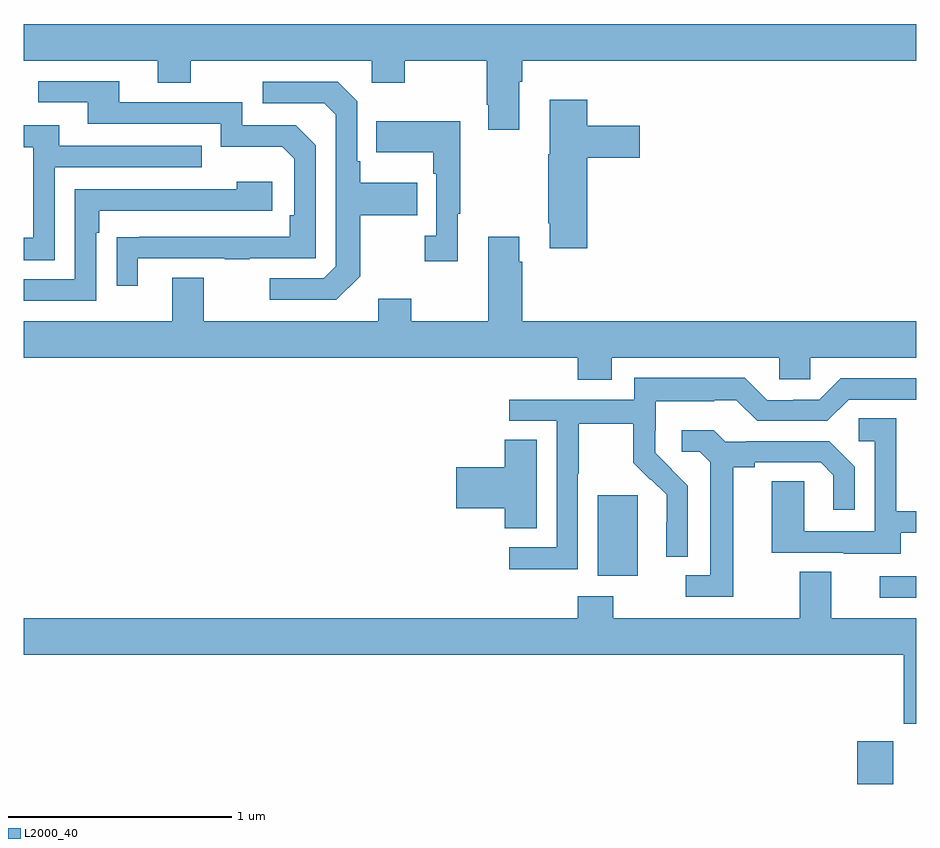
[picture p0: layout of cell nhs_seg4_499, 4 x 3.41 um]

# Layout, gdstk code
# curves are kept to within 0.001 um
import gdstk
lib = gdstk.Library(unit=1e-6, precision=1e-09)
def R(c, l, rs):  # rectangles x0, y0, x1, y1
    for r in rs: c.add(gdstk.rectangle(r[:2], r[2:], *l))
def P(c, l, *ps):  # polygons
    for p in ps: c.add(gdstk.Polygon(p, *l))
L2000_40 = (2000, 40)

nhs_seg4_499 = lib.new_cell('nhs_seg4_499')
R(nhs_seg4_499, L2000_40, [(138.737,802.9,138.897,803.092), (138.837,803.736,139,803.832), (137.573,803.834,137.752,804.195)])
P(nhs_seg4_499, L2000_40, [(137.221,806.048),(137.234,806.048),(137.234,806.144),(139,806.144),(139,806.308),(135,806.308),(135,806.144),(135.599,806.144),(135.599,806.045),(135.747,806.045),(135.747,806.144),(136.56,806.144),(136.56,806.045),(136.707,806.045),(136.707,806.144),(137.074,806.144),(137.074,805.945),(137.081,805.945),(137.081,805.833),(137.221,805.833)],
  [(135.511,805.257),(135.901,805.257),(135.901,805.252),(136.013,805.252),(136.013,805.257),(136.308,805.257),(136.308,805.764),(136.218,805.854),(135.978,805.854),(135.978,805.956),(135.427,805.956),(135.427,806.052),(135.063,806.052),(135.063,805.956),(135.287,805.956),(135.287,805.86),(135.882,805.86),(135.882,805.757),(136.159,805.757),(136.212,805.704),(136.212,805.45),(136.192,805.45),(136.192,805.353),(135.415,805.352),(135.415,805.134),(135.511,805.134)],
  [(136.507,805.177),(136.507,805.45),(136.763,805.45),(136.763,805.597),(136.507,805.597),(136.507,805.693),(136.494,805.693),(136.494,805.962),(136.407,806.049),(136.071,806.049),(136.071,805.953),(136.347,805.953),(136.398,805.902),(136.398,805.221),(136.344,805.167),(136.101,805.167),(136.101,805.071),(136.401,805.071)],
  [(137.525,805.709),(137.761,805.709),(137.761,805.851),(137.525,805.851),(137.525,805.969),(137.357,805.969),(137.357,805.725),(137.35,805.725),(137.35,805.414),(137.357,805.414),(137.357,805.302),(137.525,805.302)],
  [(136.945,805.457),(136.957,805.457),(136.957,805.873),(136.579,805.873),(136.579,805.733),(136.836,805.733),(136.836,805.637),(136.848,805.637),(136.848,805.358),(136.797,805.358),(136.797,805.245),(136.945,805.245)],
  [(135.138,805.665),(135.797,805.665),(135.797,805.761),(135.157,805.761),(135.157,805.855),(135,805.855),(135,805.755),(135.042,805.755),(135.042,805.35),(135,805.35),(135,805.249),(135.138,805.249)],
  [(135.324,805.373),(135.337,805.373),(135.337,805.47),(136.114,805.47),(136.114,805.6),(135.953,805.6),(135.953,805.566),(135.228,805.566),(135.228,805.164),(135,805.164),(135,805.068),(135.324,805.068)],
  [(135.665,805.171),(135.665,804.976),(135,804.976),(135,804.812),(137.483,804.812),(137.483,804.713),(137.635,804.713),(137.635,804.812),(138.387,804.812),(138.387,804.714),(138.525,804.714),(138.525,804.812),(139,804.812),(139,804.976),(137.234,804.976),(137.234,805.241),(137.221,805.241),(137.221,805.354),(137.081,805.354),(137.081,804.976),(136.737,804.976),(136.737,805.075),(136.589,805.075),(136.589,804.976),(135.805,804.976),(135.805,805.171)],
  [(137.484,804.292),(137.487,804.292),(137.487,804.516),(137.731,804.516),(137.731,804.341),(137.808,804.264),(137.811,804.267),(137.882,804.197),(137.882,804.074),(137.88,804.074),(137.88,803.92),(137.976,803.92),(137.976,804.238),(137.83,804.386),(137.83,804.483),(137.832,804.483),(137.832,804.617),(138.095,804.617),(138.095,804.621),(138.195,804.621),(138.288,804.528),(138.603,804.528),(138.699,804.624),(139,804.624),(139,804.72),(138.663,804.72),(138.567,804.624),(138.449,804.624),(138.449,804.621),(138.333,804.621),(138.233,804.721),(137.736,804.721),(137.736,804.624),(137.175,804.624),(137.175,804.528),(137.388,804.528),(137.388,803.961),(137.175,803.961),(137.175,803.863),(137.484,803.863)],
  [(138.931,804.027),(139,804.027),(139,804.123),(138.912,804.123),(138.912,804.539),(138.744,804.539),(138.744,804.438),(138.816,804.438),(138.816,804.033),(138.498,804.033),(138.498,804.257),(138.353,804.257),(138.353,803.937),(138.677,803.937),(138.677,803.933),(138.931,803.933)],
  [(138.181,804.32),(138.277,804.32),(138.277,804.342),(138.572,804.342),(138.629,804.285),(138.629,804.129),(138.726,804.129),(138.726,804.322),(138.61,804.438),(138.238,804.438),(138.238,804.435),(138.144,804.435),(138.092,804.487),(137.949,804.487),(137.949,804.39),(138.03,804.39),(138.077,804.343),(138.077,803.835),(137.967,803.835),(137.967,803.739),(138.181,803.739)],
  [(137.299,804.443),(137.156,804.443),(137.156,804.32),(136.938,804.32),(136.938,804.137),(137.156,804.137),(137.156,804.046),(137.299,804.046)],
  [(139,803.644),(138.619,803.644),(138.619,803.852),(138.479,803.852),(138.479,803.644),(137.643,803.644),(137.643,803.743),(137.483,803.743),(137.483,803.644),(135,803.644),(135,803.48),(138.944,803.48),(138.944,803.171),(139,803.171)])

lib.write_gds('nhs_seg4_499.gds')
